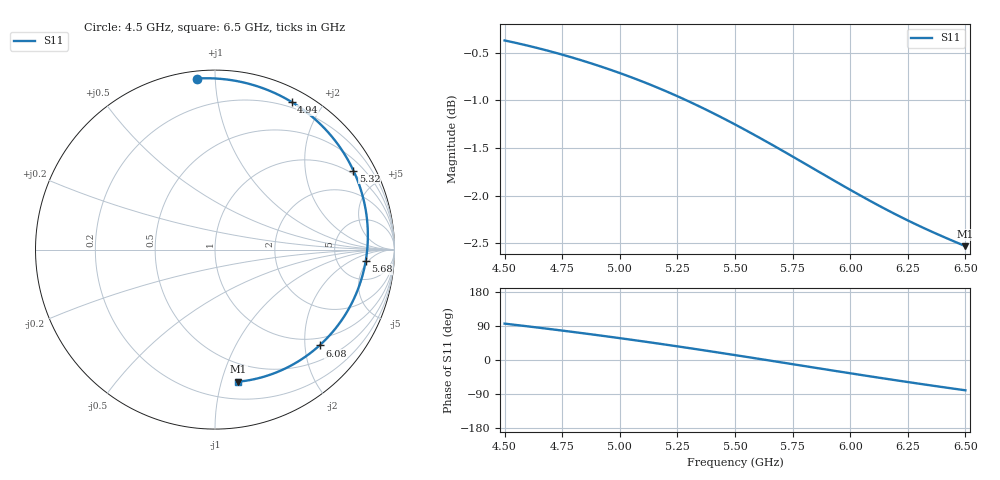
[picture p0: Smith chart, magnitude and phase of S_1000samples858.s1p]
! TOUCHSTONE file generated by CST MICROWAVE STUDIO
! Date and time: Sat Oct 29 15:07:51 2022
! Project name: L.cst
! Parameters = {Di=1.27; Epsilon_r=1.56; InnerDiameter=1.27; Length=2; Lf=10; Lg=60; OuterConductorThickness=0.2921; OuterDiameter=3.6; Wf=3; Wp=41.2; de=1.5; df=6.8; g=0.8; gx=1.61456; gy=4.75019; h=2.34; hf=1.524; px=8.72072; py=11.6393; w=9.7; wx=7.10615; wy=6.8891}
! Header version: 2018
! Port assignment regex: !\s*Touchstone port\s*([0-9]+)\s*=\s*(CST MWS port|CST DS port)\s*([0-9]+|Zmin|Zmax)\s*\(\"(.*)\"\)(\s*mode\s*([0-9]+))?.*
! Touchstone port assignment:
! Touchstone port 1 = CST MWS port 1 ("")
# GHz S DB R 50
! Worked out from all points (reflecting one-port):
!   101 points, 4.5 GHz to 6.5 GHz, reference 50 ohm
!   lowest |S11| = -2.5 dB at 6.5 GHz (marker M1), VSWR 6.91, Z = 17 - j56.7 ohm
!   phase of S11 starts at 96 deg and turns -176 deg over the sweep
!   S11 on the Smith chart (normalised r, x): 4.5 GHz: 0.04, +0.90; 4.94 GHz: 0.14, +1.64; 5.32 GHz: 0.86, +3.58; 5.68 GHz: 10, -4; 6.08 GHz: 0.82, -2.32; 6.5 GHz: 0.34, -1.13
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4.5  -0.37 96.0
4.58  -0.41 90.3
4.64  -0.45 85.9
4.7  -0.49 81.4
4.76  -0.53 76.8
4.86  -0.60 69.0
4.94  -0.66 62.6
5  -0.71 57.6
5.06  -0.77 52.6
5.12  -0.82 47.5
5.2  -0.90 40.5
5.26  -0.97 35.1
5.32  -1.03 29.7
5.42  -1.15 20.5
5.5  -1.25 12.9
5.58  -1.36 5.3
5.68  -1.49 -4.3
5.76  -1.60 -12.0
5.82  -1.69 -17.8
5.88  -1.77 -23.5
6  -1.94 -35.0
6.08  -2.05 -42.5
6.18  -2.18 -51.8
6.26  -2.27 -59.0
6.32  -2.34 -64.4
6.38  -2.41 -69.7
6.44  -2.47 -74.9
6.5  -2.53 -80.0
